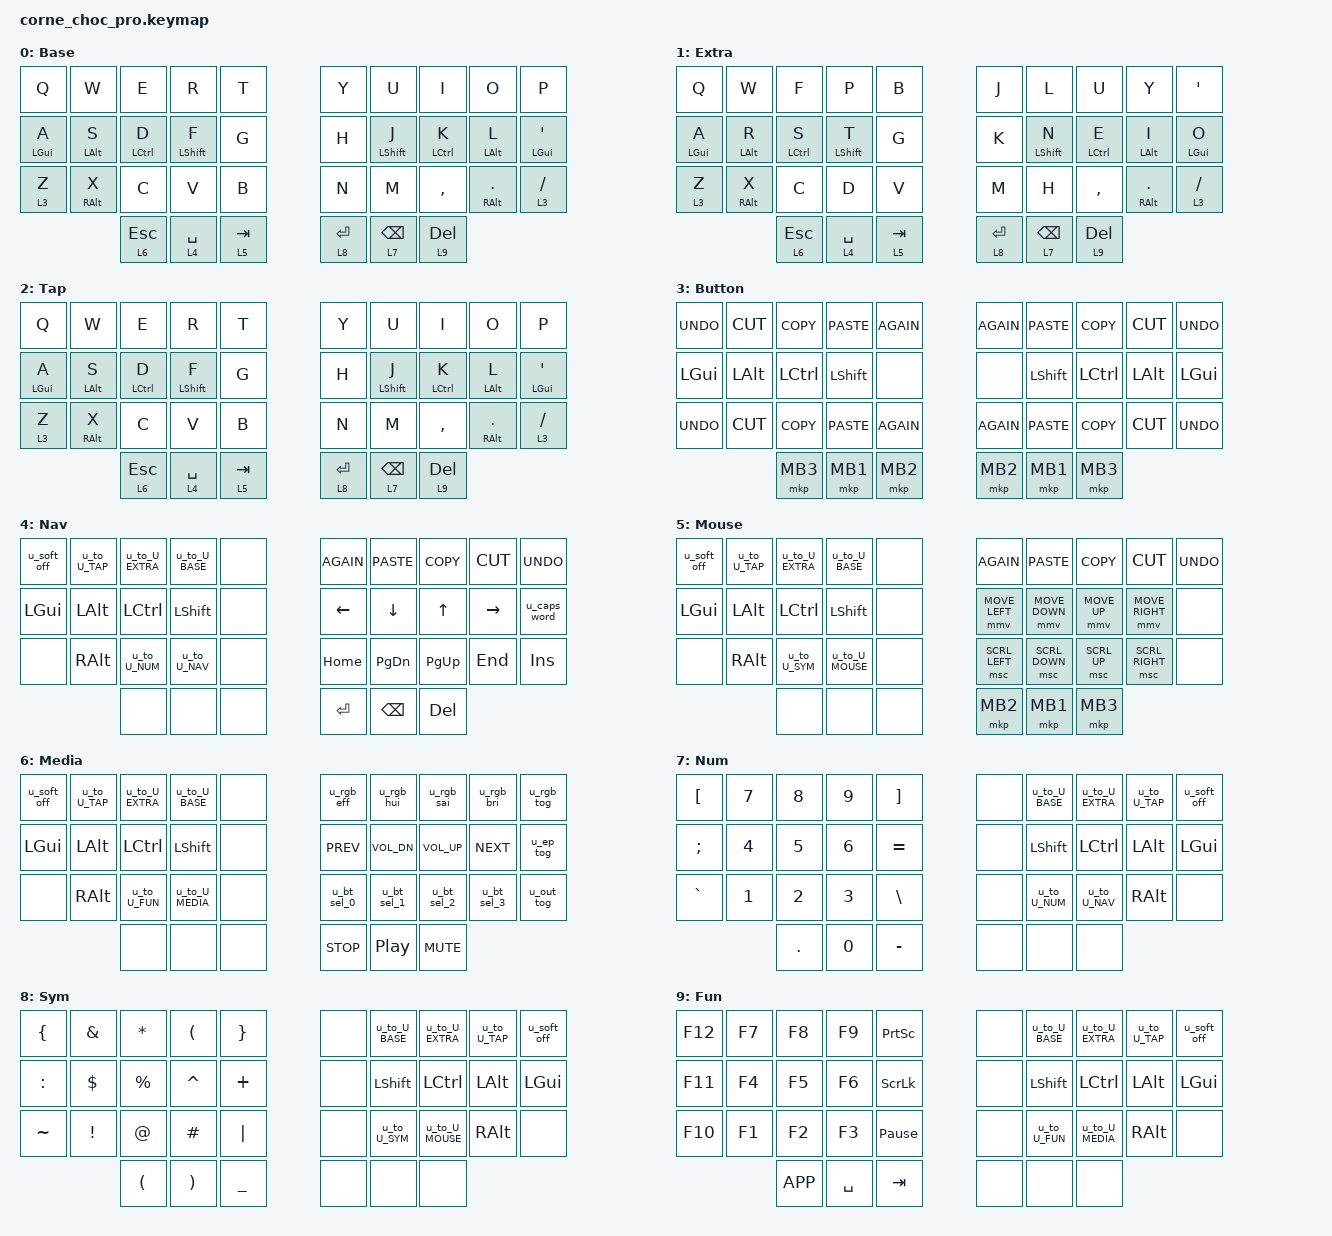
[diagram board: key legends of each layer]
/*
 * Copyright (c) 2020 The ZMK Contributors
 *
 * SPDX-License-Identifier: MIT
 */

#include <behaviors.dtsi>
#include <dt-bindings/zmk/bt.h>
#include <dt-bindings/zmk/ext_power.h>
#include <dt-bindings/zmk/keys.h>
#include <dt-bindings/zmk/outputs.h>
#include <dt-bindings/zmk/pointing.h>
#include <dt-bindings/zmk/rgb.h>


#define U_MOUSE_MOVE_EXPONENT 1
#define U_MOUSE_MOVE_TIME 1500
#define U_MOUSE_MOVE_DELAY 0
#define U_MOUSE_SCROLL_EXPONENT 1
#define U_MOUSE_SCROLL_TIME 5000
#define U_MOUSE_SCROLL_DELAY 0

#define ZMK_POINTING_DEFAULT_MOVE_VAL 1250
#define ZMK_POINTING_DEFAULT_SCRL_VAL 100

&mmv {
  acceleration-exponent = <U_MOUSE_MOVE_EXPONENT>;
  time-to-max-speed-ms = <U_MOUSE_MOVE_TIME>;
  delay-ms = <U_MOUSE_MOVE_DELAY>;
};
/*
&msc {
  acceleration-exponent = <U_MOUSE_SCROLL_EXPONENT>;
  time-to-max-speed-ms = <U_MOUSE_SCROLL_TIME>;
  delay-ms = <U_MOUSE_SCROLL_DELAY>;
};
*/


#define U_TAPPING_TERM 200
/ {
    chosen { zmk,physical-layout = &default_layout; };
};

/ {
  macros {
    // Bluetooth Macros
    u_macro_u_bt_sel_0: u_macro_u_bt_sel_0 {
      compatible = "zmk,behavior-macro";
      #binding-cells = <0>;
      wait-ms = <0>; bindings = <&bt BT_SEL 0 &bt BT_CLR>;
    };
    u_macro_u_bt_sel_1: u_macro_u_bt_sel_1 {
      compatible = "zmk,behavior-macro";
      #binding-cells = <0>;
      wait-ms = <0>; bindings = <&bt BT_SEL 1 &bt BT_CLR>;
    };
    u_macro_u_bt_sel_2: u_macro_u_bt_sel_2 {
      compatible = "zmk,behavior-macro";
      #binding-cells = <0>;
      wait-ms = <0>; bindings = <&bt BT_SEL 2 &bt BT_CLR>;
    };
    u_macro_u_bt_sel_3: u_macro_u_bt_sel_3 {
      compatible = "zmk,behavior-macro";
      #binding-cells = <0>;
      wait-ms = <0>; bindings = <&bt BT_SEL 3 &bt BT_CLR>;
    };
    u_macro_u_bt_sel_4: u_macro_u_bt_sel_4 {
      compatible = "zmk,behavior-macro";
      #binding-cells = <0>;
      wait-ms = <0>; bindings = <&bt BT_SEL 4 &bt BT_CLR>;
    };
  };
};

/ {
  behaviors {
    // Custom toggles
    u_mt: u_mt {
      compatible = "zmk,behavior-hold-tap";
      #binding-cells = <2>;
      tapping-term-ms = <U_TAPPING_TERM>;
      flavor = "tap-preferred";
      bindings = <&kp>, <&kp>;
    };
    u_lt: u_lt {
      compatible = "zmk,behavior-hold-tap";
      #binding-cells = <2>;
      tapping-term-ms = <U_TAPPING_TERM>;
      flavor = "tap-preferred";
      bindings = <&mo>, <&kp>;
    };


    u_soft_off: u_soft_off {
      compatible = "zmk,behavior-tap-dance";
      #binding-cells = <0>;
      tapping-term-ms = <U_TAPPING_TERM>;
      bindings = <&none>, <&soft_off>;
    };
    u_bootloader: u_bootloader {
      compatible = "zmk,behavior-tap-dance";
      #binding-cells = <0>;
      tapping-term-ms = <U_TAPPING_TERM>;
      bindings = <&none>, <&bootloader>;
    };

    // Custom layer switches
    u_to_U_BASE: u_to_U_BASE {
      compatible = "zmk,behavior-tap-dance";
      #binding-cells = <0>;
      tapping-term-ms = <U_TAPPING_TERM>;
      bindings = <&none>, <&to 0>;
    };
    u_to_U_EXTRA: u_to_U_EXTRA {
      compatible = "zmk,behavior-tap-dance";
      #binding-cells = <0>;
      tapping-term-ms = <U_TAPPING_TERM>;
      bindings = <&none>, <&to 1>;
    };
    u_to_U_TAP: u_to_U_TAP {
      compatible = "zmk,behavior-tap-dance";
      #binding-cells = <0>;
      tapping-term-ms = <U_TAPPING_TERM>;
      bindings = <&none>, <&to 2>;
    };
    u_to_U_BUTTON: u_to_U_BUTTON {
      compatible = "zmk,behavior-tap-dance";
      #binding-cells = <0>;
      tapping-term-ms = <U_TAPPING_TERM>;
      bindings = <&none>, <&to 3>;
    };
    u_to_U_NAV: u_to_U_NAV {
      compatible = "zmk,behavior-tap-dance";
      #binding-cells = <0>;
      tapping-term-ms = <U_TAPPING_TERM>;
      bindings = <&none>, <&to 4>;
    };
    u_to_U_MOUSE: u_to_U_MOUSE {
      compatible = "zmk,behavior-tap-dance";
      #binding-cells = <0>;
      tapping-term-ms = <U_TAPPING_TERM>;
      bindings = <&none>, <&to 5>;
    };
    u_to_U_MEDIA: u_to_U_MEDIA {
      compatible = "zmk,behavior-tap-dance";
      #binding-cells = <0>;
      tapping-term-ms = <U_TAPPING_TERM>;
      bindings = <&none>, <&to 6>;
    };
    u_to_U_NUM: u_to_U_NUM {
      compatible = "zmk,behavior-tap-dance";
      #binding-cells = <0>;
      tapping-term-ms = <U_TAPPING_TERM>;
      bindings = <&none>, <&to 7>;
    };
    u_to_U_SYM: u_to_U_SYM {
      compatible = "zmk,behavior-tap-dance";
      #binding-cells = <0>;
      tapping-term-ms = <U_TAPPING_TERM>;
      bindings = <&none>, <&to 8>;
    };
    u_to_U_FUN: u_to_U_FUN {
      compatible = "zmk,behavior-tap-dance";
      #binding-cells = <0>;
      tapping-term-ms = <U_TAPPING_TERM>;
      bindings = <&none>, <&to 9>;
    };

    // RGB Settings
    u_rgb_tog: u_rgb_tog {
      compatible = "zmk,behavior-mod-morph";
      #binding-cells = <0>;
      bindings = <&rgb_ug RGB_TOG>, <&rgb_ug RGB_OFF>;
      mods = <(MOD_LSFT|MOD_RSFT)>;
    };
    u_rgb_eff: u_rgb_eff {
      compatible = "zmk,behavior-mod-morph";
      #binding-cells = <0>;
      bindings = <&rgb_ug RGB_EFF>, <&rgb_ug RGB_EFR>;
      mods = <(MOD_LSFT|MOD_RSFT)>;
    };
    u_rgb_hui: u_rgb_hui {
      compatible = "zmk,behavior-mod-morph";
      #binding-cells = <0>;
      bindings = <&rgb_ug RGB_HUI>, <&rgb_ug RGB_HUD>;
      mods = <(MOD_LSFT|MOD_RSFT)>;
    };
    u_rgb_sai: u_rgb_sai {
      compatible = "zmk,behavior-mod-morph";
      #binding-cells = <0>;
      bindings = <&rgb_ug RGB_SAI>, <&rgb_ug RGB_SAD>;
      mods = <(MOD_LSFT|MOD_RSFT)>;
    };
    u_rgb_bri: u_rgb_bri {
      compatible = "zmk,behavior-mod-morph";
      #binding-cells = <0>;
      bindings = <&rgb_ug RGB_BRI>, <&rgb_ug RGB_BRD>;
      mods = <(MOD_LSFT|MOD_RSFT)>;
    };

    // Bluetooth Settings
    u_bt_sel_0: u_bt_sel_0 {
      compatible = "zmk,behavior-mod-morph";
      #binding-cells = <0>;
      bindings = <&bt BT_SEL 0>, <&u_macro_u_bt_sel_0>;
      mods = <(MOD_LSFT|MOD_RSFT)>;
    };
    u_bt_sel_1: u_bt_sel_1 {
      compatible = "zmk,behavior-mod-morph";
      #binding-cells = <0>;
      bindings = <&bt BT_SEL 1>, <&u_macro_u_bt_sel_1>;
      mods = <(MOD_LSFT|MOD_RSFT)>;
    };
    u_bt_sel_2: u_bt_sel_2 {
      compatible = "zmk,behavior-mod-morph";
      #binding-cells = <0>;
      bindings = <&bt BT_SEL 2>, <&u_macro_u_bt_sel_2>;
      mods = <(MOD_LSFT|MOD_RSFT)>;
    };
    u_bt_sel_3: u_bt_sel_3 {
      compatible = "zmk,behavior-mod-morph";
      #binding-cells = <0>;
      bindings = <&bt BT_SEL 3>, <&u_macro_u_bt_sel_3>;
      mods = <(MOD_LSFT|MOD_RSFT)>;
    };
    u_bt_sel_4: u_bt_sel_4 {
      compatible = "zmk,behavior-mod-morph";
      #binding-cells = <0>;
      bindings = <&bt BT_SEL 4>, <&u_macro_u_bt_sel_4>;
      mods = <(MOD_LSFT|MOD_RSFT)>;
    };

    // Special Keys 
    u_caps_word: u_caps_word {
      compatible = "zmk,behavior-mod-morph";
      #binding-cells = <0>;
      bindings = <&caps_word>, <&kp CAPS>;
      mods = <(MOD_LSFT|MOD_RSFT)>;
    };
    u_out_tog: u_out_tog {
      compatible = "zmk,behavior-mod-morph";
      #binding-cells = <0>;
      bindings = <&out OUT_TOG>, <&out OUT_USB>;
      mods = <(MOD_LSFT|MOD_RSFT)>;
    };
    u_ep_tog: u_ep_tog {
      compatible = "zmk,behavior-mod-morph";
      #binding-cells = <0>;
      bindings = <&ext_power EP_TOG>, <&ext_power EP_OFF>;
      mods = <(MOD_LSFT|MOD_RSFT)>;
    };
  };
};



/ {
    keymap {
        compatible = "zmk,keymap";

        BASE {
            display-name = "Base";
            bindings = <
&kp Q             &kp W             &kp E             &kp R             &kp T             &kp Y             &kp U             &kp I             &kp O             &kp P
&u_mt LGUI A      &u_mt LALT S      &u_mt LCTRL D     &u_mt LSHFT F     &kp G             &kp H             &u_mt LSHFT J     &u_mt LCTRL K     &u_mt LALT L      &u_mt LGUI SQT
&u_lt 3 Z         &u_mt RALT X      &kp C             &kp V             &kp B             &kp N             &kp M             &kp COMMA         &u_mt RALT DOT    &u_lt 3 SLASH
                                    &u_lt 6 ESC       &u_lt 4 SPACE     &u_lt 5 TAB       &u_lt 8 RET       &u_lt 7 BSPC      &u_lt 9 DEL
            >;
        };
	
	EXTRA {
            display-name = "Extra";
            bindings = <
&kp Q             &kp W             &kp F             &kp P             &kp B             &kp J             &kp L             &kp U             &kp Y             &kp SQT
&u_mt LGUI A      &u_mt LALT R      &u_mt LCTRL S     &u_mt LSHFT T     &kp G             &kp K             &u_mt LSHFT N     &u_mt LCTRL E     &u_mt LALT I      &u_mt LGUI O
&u_lt 3 Z         &u_mt RALT X      &kp C             &kp D             &kp V             &kp M             &kp H             &kp COMMA         &u_mt RALT DOT    &u_lt 3 SLASH
                                    &u_lt 6 ESC       &u_lt 4 SPACE     &u_lt 5 TAB       &u_lt 8 RET       &u_lt 7 BSPC      &u_lt 9 DEL
            >;
        };

	TAP {
            display-name = "Tap";
            bindings = <
&kp Q             &kp W             &kp E             &kp R             &kp T             &kp Y             &kp U             &kp I             &kp O             &kp P
&u_mt LGUI A      &u_mt LALT S      &u_mt LCTRL D     &u_mt LSHFT F     &kp G             &kp H             &u_mt LSHFT J     &u_mt LCTRL K     &u_mt LALT L      &u_mt LGUI SQT
&u_lt 3 Z         &u_mt RALT X      &kp C             &kp V             &kp B             &kp N             &kp M             &kp COMMA         &u_mt RALT DOT    &u_lt 3 SLASH
                                    &u_lt 6 ESC       &u_lt 4 SPACE     &u_lt 5 TAB       &u_lt 8 RET       &u_lt 7 BSPC      &u_lt 9 DEL
            >;
        };

	BUTTON {
            display-name = "Button";
            bindings = <
&kp K_UNDO        &kp K_CUT         &kp K_COPY        &kp K_PASTE       &kp K_AGAIN       &kp K_AGAIN       &kp K_PASTE       &kp K_COPY        &kp K_CUT         &kp K_UNDO
&kp LGUI          &kp LALT          &kp LCTRL         &kp LSHFT         &none             &none             &kp LSHFT         &kp LCTRL         &kp LALT          &kp LGUI
&kp K_UNDO        &kp K_CUT         &kp K_COPY        &kp K_PASTE       &kp K_AGAIN       &kp K_AGAIN       &kp K_PASTE       &kp K_COPY        &kp K_CUT         &kp K_UNDO
                                    &mkp MB3          &mkp MB1          &mkp MB2          &mkp MB2          &mkp MB1          &mkp MB3
            >;
        };


        NAV {
            display-name = "Nav";
            bindings = <
&u_soft_off       &u_to_U_TAP       &u_to_U_EXTRA     &u_to_U_BASE      &none             &kp K_AGAIN       &kp K_PASTE       &kp K_COPY        &kp K_CUT         &kp K_UNDO
&kp LGUI          &kp LALT          &kp LCTRL         &kp LSHFT         &none             &kp LEFT          &kp DOWN          &kp UP            &kp RIGHT         &u_caps_word
&none             &kp RALT          &u_to_U_NUM       &u_to_U_NAV       &none             &kp HOME          &kp PG_DN         &kp PG_UP         &kp END           &kp INS
                                    &none             &none             &none             &kp RET           &kp BSPC          &kp DEL
            >;
        };

        MOUSE {
            display-name = "Mouse";
            bindings = <
&u_soft_off       &u_to_U_TAP       &u_to_U_EXTRA     &u_to_U_BASE      &none             &kp K_AGAIN        &kp K_PASTE      &kp K_COPY        &kp K_CUT         &kp K_UNDO
&kp LGUI          &kp LALT          &kp LCTRL         &kp LSHFT         &none             &mmv MOVE_LEFT     &mmv MOVE_DOWN   &mmv MOVE_UP      &mmv MOVE_RIGHT   &none
&none             &kp RALT          &u_to_U_SYM       &u_to_U_MOUSE     &none             &msc SCRL_LEFT     &msc SCRL_DOWN   &msc SCRL_UP      &msc SCRL_RIGHT   &none
                                    &none             &none             &none             &mkp MB2           &mkp MB1         &mkp MB3
            >;
        };
	
        MEDIA {
            display-name = "Media";
            bindings = <
&u_soft_off       &u_to_U_TAP       &u_to_U_EXTRA     &u_to_U_BASE      &none             &u_rgb_eff        &u_rgb_hui        &u_rgb_sai        &u_rgb_bri        &u_rgb_tog
&kp LGUI          &kp LALT          &kp LCTRL         &kp LSHFT         &none             &kp C_PREV        &kp C_VOL_DN      &kp C_VOL_UP      &kp C_NEXT        &u_ep_tog
&none             &kp RALT          &u_to_U_FUN       &u_to_U_MEDIA     &none             &u_bt_sel_0       &u_bt_sel_1       &u_bt_sel_2       &u_bt_sel_3       &u_out_tog
                                    &none             &none             &none             &kp C_STOP        &kp C_PP          &kp C_MUTE
            >;
        };

        NUM {
            display-name = "Num";
            bindings = <
&kp LBKT          &kp N7            &kp N8            &kp N9            &kp RBKT          &none              &u_to_U_BASE      &u_to_U_EXTRA     &u_to_U_TAP       &u_soft_off
&kp SEMI          &kp N4            &kp N5            &kp N6            &kp EQUAL         &none              &kp LSHFT         &kp LCTRL         &kp LALT          &kp LGUI
&kp GRAVE         &kp N1            &kp N2            &kp N3            &kp BSLH          &none              &u_to_U_NUM       &u_to_U_NAV       &kp RALT          &none
                                    &kp DOT           &kp N0            &kp MINUS         &none              &none             &none
            >;
        };
	
        SYM {
            display-name = "Sym";
            bindings = <
&kp LBRC          &kp AMPS          &kp ASTRK         &kp LPAR          &kp RBRC          &none              &u_to_U_BASE      &u_to_U_EXTRA     &u_to_U_TAP       &u_soft_off
&kp COLON         &kp DLLR          &kp PRCNT         &kp CARET         &kp PLUS          &none              &kp LSHFT         &kp LCTRL         &kp LALT          &kp LGUI
&kp TILDE         &kp EXCL          &kp AT            &kp HASH          &kp PIPE          &none              &u_to_U_SYM       &u_to_U_MOUSE     &kp RALT          &none
                                    &kp LPAR          &kp RPAR          &kp UNDER         &none              &none             &none
            >;
        };

        FUN {
            display-name = "Fun";
            bindings = <
&kp F12           &kp F7            &kp F8            &kp F9            &kp PSCRN         &none              &u_to_U_BASE      &u_to_U_EXTRA     &u_to_U_TAP       &u_soft_off
&kp F11           &kp F4            &kp F5            &kp F6            &kp SLCK          &none              &kp LSHFT         &kp LCTRL         &kp LALT          &kp LGUI
&kp F10           &kp F1            &kp F2            &kp F3            &kp PAUSE_BREAK   &none              &u_to_U_FUN       &u_to_U_MEDIA     &kp RALT          &none
                                    &kp K_APP         &kp SPACE         &kp TAB           &none              &none             &none
            >;
        };
    };
};
